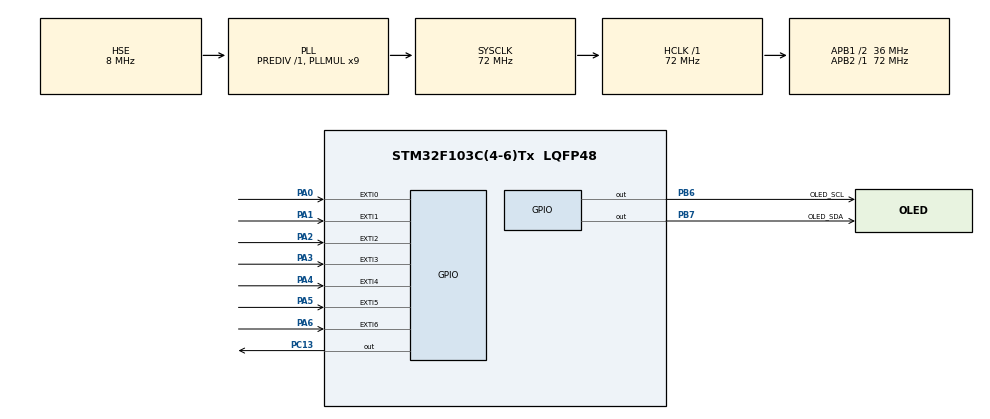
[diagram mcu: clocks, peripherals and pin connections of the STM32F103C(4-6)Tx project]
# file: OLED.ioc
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Mcu.Family=STM32F1
Mcu.Name=STM32F103C(4-6)Tx
Mcu.Package=LQFP48
NVIC.EXTI0_IRQn=true\:5\:0\:true\:false\:true\:false\:true\:true\:true
NVIC.EXTI1_IRQn=true\:5\:0\:true\:false\:true\:false\:true\:true\:true
NVIC.EXTI2_IRQn=true\:5\:0\:true\:false\:true\:false\:true\:true\:true
NVIC.EXTI3_IRQn=true\:5\:0\:true\:false\:true\:false\:true\:true\:true
NVIC.EXTI4_IRQn=true\:5\:0\:true\:false\:true\:false\:true\:true\:true
NVIC.EXTI9_5_IRQn=true\:5\:0\:true\:false\:true\:false\:true\:true\:true
NVIC.PriorityGroup=NVIC_PRIORITYGROUP_4
NVIC.TIM1_UP_IRQn=true\:15\:0\:false\:false\:true\:false\:false\:true\:true
NVIC.TimeBase=TIM1_UP_IRQn
NVIC.TimeBaseIP=TIM1
PA0-WKUP.GPIO_PuPd=GPIO_PULLUP
PA0-WKUP.Signal=GPXTI0
PA1.GPIO_PuPd=GPIO_PULLUP
PA1.Signal=GPXTI1
PA13.Mode=Serial_Wire
PA13.Signal=SYS_JTMS-SWDIO
PA14.Mode=Serial_Wire
PA14.Signal=SYS_JTCK-SWCLK
PA2.GPIO_PuPd=GPIO_PULLUP
PA2.Signal=GPXTI2
PA3.GPIO_PuPd=GPIO_PULLUP
PA3.Signal=GPXTI3
PA4.GPIO_PuPd=GPIO_PULLUP
PA4.Signal=GPXTI4
PA5.GPIO_PuPd=GPIO_PULLUP
PA5.Signal=GPXTI5
PA6.GPIO_PuPd=GPIO_PULLUP
PA6.Signal=GPXTI6
PB6.GPIO_Label=OLED_SCL
PB6.Signal=GPIO_Output
PB7.GPIO_Label=OLED_SDA
PB7.Signal=GPIO_Output
PC13-TAMPER-RTC.Signal=GPIO_Output
PD0-OSC_IN.Mode=HSE-External-Oscillator
PD0-OSC_IN.Signal=RCC_OSC_IN
PD1-OSC_OUT.Mode=HSE-External-Oscillator
PD1-OSC_OUT.Signal=RCC_OSC_OUT
ProjectManager.HeapSize=0x200
ProjectManager.StackSize=0x400
ProjectManager.TargetToolchain=STM32CubeIDE
RCC.AHBFreq_Value=72000000
RCC.APB1CLKDivider=RCC_HCLK_DIV2
RCC.APB1Freq_Value=36000000
RCC.APB1TimFreq_Value=72000000
RCC.APB2Freq_Value=72000000
RCC.APB2TimFreq_Value=72000000
RCC.HCLKFreq_Value=72000000
RCC.PLLMUL=RCC_PLL_MUL9
RCC.PLLSourceVirtual=RCC_PLLSOURCE_HSE
RCC.SYSCLKFreq_VALUE=72000000
RCC.SYSCLKSource=RCC_SYSCLKSOURCE_PLLCLK
RCC.USBFreq_Value=72000000
RealThread.RT-Thread.3.1.3.RTAaThreadCcRTOSJjkernel=true
VP_RealThread.RT-Thread_VS_RTOSJjRTAaThread_3.1.3.Mode=RTOSJjRTAaThread
VP_SYS_VS_tim1.Mode=TIM1
board=custom

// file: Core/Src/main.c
/* USER CODE BEGIN Header */
/**
  ******************************************************************************
  * @file           : main.c
  * @brief          : Main program body
  ******************************************************************************
  * @attention
  *
  * Copyright (c) 2025 STMicroelectronics.
  * All rights reserved.
  *
  * This software is licensed under terms that can be found in the LICENSE file
  * in the root directory of this software component.
  * If no LICENSE file comes with this software, it is provided AS-IS.
  *
  ******************************************************************************
  */
/* USER CODE END Header */
#include "main.h"
#include "gpio.h"
#include "oled.h"
#include "bmp.h"

void SystemClock_Config(void);

int main(void) {

    /* MCU Configuration--------------------------------------------------------*/

    /* Reset of all peripherals, Initializes the Flash interface and the Systick. */
    HAL_Init();

    /* Configure the system clock */
    SystemClock_Config();

    /* Initialize all configured peripherals */
    MX_GPIO_Init();
    /* USER CODE BEGIN 2 */
    uint8_t t = ' ';
    OLED_Init();
    OLED_ColorTurn(0);//0正常显示，1 反色显示
    OLED_DisplayTurn(0);//0正常显示 1 屏幕翻转显示
    /* USER CODE END 2 */

    /* Infinite loop */
    while (1) {

        /* USER CODE BEGIN 3 */
        OLED_ShowPicture(0, 0, 128, 64, BMP1, 1);
        OLED_Refresh();
        HAL_Delay(500);
        OLED_Clear();
        OLED_ShowChinese(0, 0, 0, 16, 1);//中
        OLED_ShowChinese(18, 0, 1, 16, 1);//景
        OLED_ShowChinese(36, 0, 2, 16, 1);//园
        OLED_ShowChinese(54, 0, 3, 16, 1);//电
        OLED_ShowChinese(72, 0, 4, 16, 1);//子
        OLED_ShowChinese(90, 0, 5, 16, 1);//技
        OLED_ShowChinese(108, 0, 6, 16, 1);//术
        OLED_ShowString(8, 16, "ZHONGJINGYUAN", 16, 1);
        OLED_ShowString(20, 32, "2014/05/01", 16, 1);
        OLED_ShowString(0, 48, "ASCII:", 16, 1);
        OLED_ShowString(63, 48, "CODE:", 16, 1);
        OLED_ShowChar(48, 48, t, 16, 1);//显示ASCII字符
        t++;
        if (t > '~')t = ' ';
        OLED_ShowNum(103, 48, t, 3, 16, 1);
        OLED_Refresh();
        HAL_Delay(500);
        OLED_Clear();
        OLED_ShowChinese(0, 0, 0, 16, 1);  //16*16 中
        OLED_ShowChinese(16, 0, 0, 24, 1); //24*24 中
        OLED_ShowChinese(24, 20, 0, 32, 1);//32*32 中
        OLED_ShowChinese(64, 0, 0, 64, 1); //64*64 中
        OLED_Refresh();
        HAL_Delay(500);
        OLED_Clear();
        OLED_ShowString(0, 0, "ABC", 8, 1);//6*8 “ABC”
        OLED_ShowString(0, 8, "ABC", 12, 1);//6*12 “ABC”
        OLED_ShowString(0, 20, "ABC", 16, 1);//8*16 “ABC”
        OLED_ShowString(0, 36, "ABC", 24, 1);//12*24 “ABC”
        OLED_Refresh();
        HAL_Delay(500);
        OLED_ScrollDisplay(11, 4, 1);
    }
    /* USER CODE END 3 */
}

void SystemClock_Config(void) {
    RCC_OscInitTypeDef RCC_OscInitStruct = {0};
    RCC_ClkInitTypeDef RCC_ClkInitStruct = {0};

    /** Initializes the RCC Oscillators according to the specified parameters
    * in the RCC_OscInitTypeDef structure.
    */
    RCC_OscInitStruct.OscillatorType = RCC_OSCILLATORTYPE_HSE;
    RCC_OscInitStruct.HSEState = RCC_HSE_ON;
    RCC_OscInitStruct.HSEPredivValue = RCC_HSE_PREDIV_DIV1;
    RCC_OscInitStruct.HSIState = RCC_HSI_ON;
    RCC_OscInitStruct.PLL.PLLState = RCC_PLL_ON;
    RCC_OscInitStruct.PLL.PLLSource = RCC_PLLSOURCE_HSE;
    RCC_OscInitStruct.PLL.PLLMUL = RCC_PLL_MUL9;
    if (HAL_RCC_OscConfig(&RCC_OscInitStruct) != HAL_OK) {
        Error_Handler();
    }

    /** Initializes the CPU, AHB and APB buses clocks
    */
    RCC_ClkInitStruct.ClockType = RCC_CLOCKTYPE_HCLK | RCC_CLOCKTYPE_SYSCLK
                                  | RCC_CLOCKTYPE_PCLK1 | RCC_CLOCKTYPE_PCLK2;
    RCC_ClkInitStruct.SYSCLKSource = RCC_SYSCLKSOURCE_PLLCLK;
    RCC_ClkInitStruct.AHBCLKDivider = RCC_SYSCLK_DIV1;
    RCC_ClkInitStruct.APB1CLKDivider = RCC_HCLK_DIV2;
    RCC_ClkInitStruct.APB2CLKDivider = RCC_HCLK_DIV1;

    if (HAL_RCC_ClockConfig(&RCC_ClkInitStruct, FLASH_LATENCY_2) != HAL_OK) {
        Error_Handler();
    }
}

void HAL_TIM_PeriodElapsedCallback(TIM_HandleTypeDef *htim) {
    if (htim->Instance == TIM1) {
        HAL_IncTick();
    }
}

void Error_Handler(void) {
    __disable_irq();
    while (1) {
    }
}
